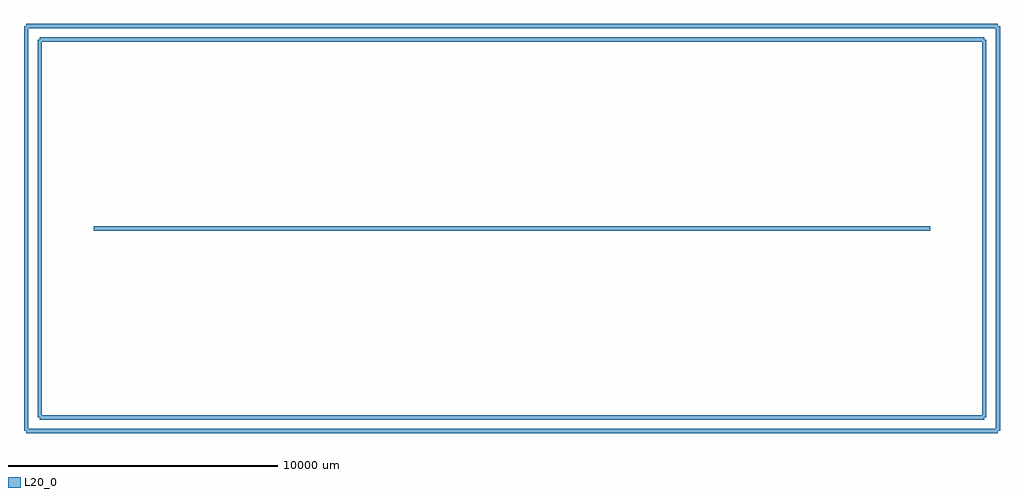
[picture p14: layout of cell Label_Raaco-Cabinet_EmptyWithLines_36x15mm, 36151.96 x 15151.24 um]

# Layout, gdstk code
import gdstk
lib = gdstk.Library(unit=1e-6, precision=1e-09)
L20_0 = (20, 0)

label_raaco_cabinet_empt = lib.new_cell('Label_Raaco-Cabinet_EmptyWithLines_36x15mm')
label_raaco_cabinet_empt.add(gdstk.FlexPath([(-18000.98,-7500.62),(0,-7500.62)], 149.998, ends="flush", simple_path=True, layer=20, datatype=0))  # L20_0
label_raaco_cabinet_empt.add(gdstk.FlexPath([(-18000.98,7500.62),(-18000.98,-7500.62)], 149.998, ends="flush", simple_path=True, layer=20, datatype=0))  # L20_0
label_raaco_cabinet_empt.add(gdstk.FlexPath([(18000.98,7500.62),(-18000.98,7500.62)], 149.998, ends="flush", simple_path=True, layer=20, datatype=0))  # L20_0
label_raaco_cabinet_empt.add(gdstk.FlexPath([(18000.98,-7500.62),(18000.98,7500.62)], 149.998, ends="flush", simple_path=True, layer=20, datatype=0))  # L20_0
label_raaco_cabinet_empt.add(gdstk.FlexPath([(0,-7500.62),(18000.98,-7500.62)], 149.998, ends="flush", simple_path=True, layer=20, datatype=0))  # L20_0
label_raaco_cabinet_empt.add(gdstk.FlexPath([(-17500.6,-7000.24),(-17500.6,7000.24)], 149.998, ends="flush", simple_path=True, layer=20, datatype=0))  # L20_0
label_raaco_cabinet_empt.add(gdstk.FlexPath([(17500.6,-7000.24),(-17500.6,-7000.24)], 149.998, ends="flush", simple_path=True, layer=20, datatype=0))  # L20_0
label_raaco_cabinet_empt.add(gdstk.FlexPath([(17500.6,7000.24),(17500.6,-7000.24)], 149.998, ends="flush", simple_path=True, layer=20, datatype=0))  # L20_0
label_raaco_cabinet_empt.add(gdstk.FlexPath([(-17500.6,7000.24),(17500.6,7000.24)], 149.998, ends="flush", simple_path=True, layer=20, datatype=0))  # L20_0
label_raaco_cabinet_empt.add(gdstk.FlexPath([(-15499.08,0),(15499.08,0)], 149.998, ends="flush", simple_path=True, layer=20, datatype=0))  # L20_0
label_raaco_cabinet_empt.add(gdstk.Label('type', (0,-9652), layer=9, texttype=0))
label_raaco_cabinet_empt.add(gdstk.Label('devicename', (254,9398), layer=9, texttype=0))

lib.write_gds('Label_Raaco-Cabinet_EmptyWithLines_36x15mm.gds')
